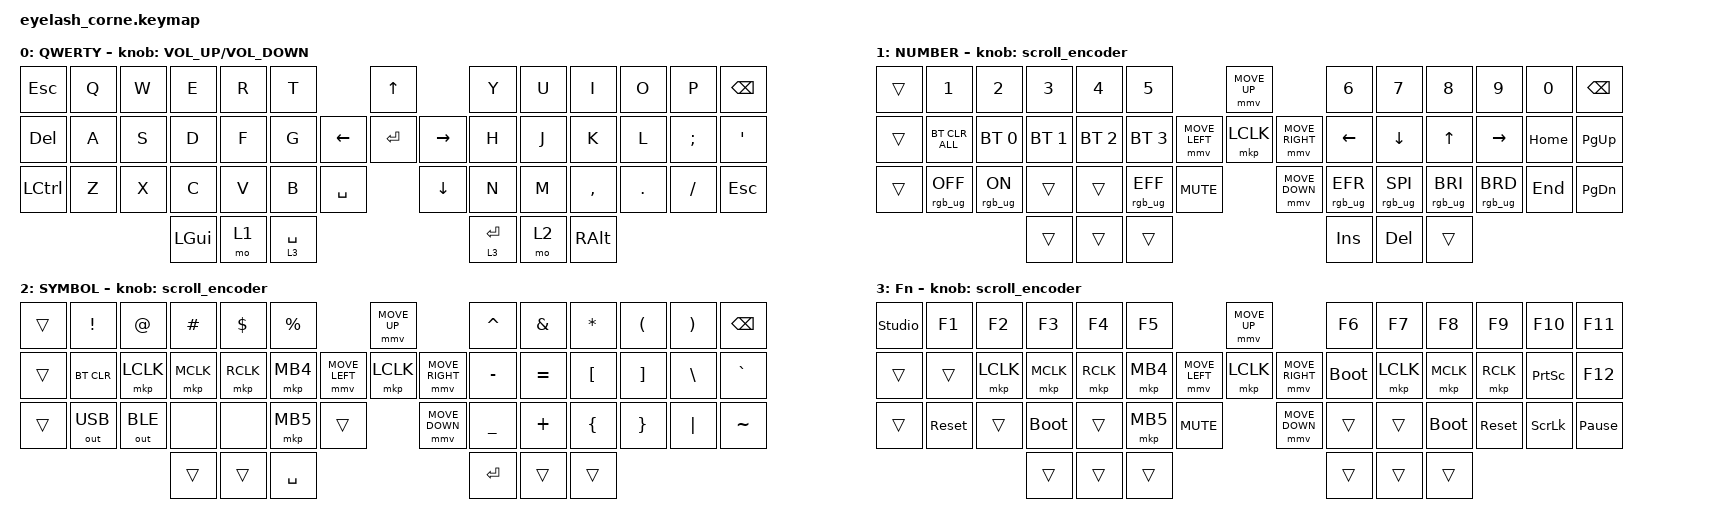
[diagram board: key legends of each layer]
#include <behaviors.dtsi>
#include <dt-bindings/zmk/bt.h>
#include <dt-bindings/zmk/keys.h>
#include <dt-bindings/zmk/mouse.h>
#include <dt-bindings/zmk/outputs.h>
#include <dt-bindings/zmk/rgb.h>

#include <input/processors.dtsi>

/*

   &mmv_input_listener {
       input-processors = <&zip_xy_scaler 2 1>;
   };

   &msc_input_listener {
       input-processors = <&zip_xy_scaler 2 1>;
   };

 */

#define ZMK_MOUSE_DEFAULT_MOVE_VAL 1200  // 600
#define ZMK_MOUSE_DEFAULT_SCRL_VAL 20    // 10

/ {
    behaviors {
        td0: td0 {
            compatible = "zmk,behavior-tap-dance";
            display-name = "Shift/Caps Lock Tap Dance";
            #binding-cells = <0>;
            bindings = <&kp LEFT_SHIFT>, <&kp CAPS>;
        };
    };

    rgb_encoder: rgb_encoder {
        compatible = "zmk,behavior-sensor-rotate";
        #sensor-binding-cells = <0>;
        bindings = <&rgb_ug RGB_BRI>, <&rgb_ug RGB_BRD>;
    };

    scroll_encoder: scroll_encoder {
        compatible = "zmk,behavior-sensor-rotate";
        #sensor-binding-cells = <0>;
        bindings = <&msc SCRL_DOWN>, <&msc SCRL_UP>;
        tap-ms = <30>;
    };
    combos {
         compatible = "zmk,combos";
         combo_Lshift {
            timeout-ms = <50>;
            key-positions = <16 17>;
            bindings = <&kp LEFT_SHIFT>;
         };
         combo_Rshift {
            timeout-ms = <50>;
            key-positions = <23 24>;
            bindings = <&kp RIGHT_SHIFT>;
         };
         combo_LCaps {
            timeout-ms = <50>;
            key-positions = <16 17 45>;
            bindings = <&kp CAPS>;
         };
         combo_RCaps {
            timeout-ms = <50>;
            key-positions = <23 24 45>;
            bindings = <&kp CAPS>;
         };
         combo_LCTRL {
            timeout-ms = <50>;
            key-positions = <15 17>;
            bindings = <&kp LCTRL>;
         };
         combo_RCTRL {
            timeout-ms = <50>;
            key-positions = <24 25>;
            bindings = <&kp RCTRL>;
         };
         combo_LAlt {
            timeout-ms = <50>;
            key-positions = <15 16>;
            bindings = <&kp LALT>;
         };
         combo_RAlt {
            timeout-ms = <50>;
            key-positions = <25 26>;
            bindings = <&kp RALT>;
         };
    };
    keymap {
        compatible = "zmk,keymap";

        default_layer {
            display-name = "QWERTY";
            bindings = <
&kp ESC    &kp Q  &kp W      &kp E     &kp R  &kp T                              &kp UP                &kp Y        &kp U  &kp I      &kp O    &kp P     &kp BSPC
&kp DEL    &kp A  &kp S      &kp D     &kp F  &kp G                    &kp LEFT  &kp ENTER  &kp RIGHT  &kp H        &kp J  &kp K      &kp L    &kp SEMI  &kp SQT
&kp LCTRL  &kp Z  &kp X      &kp C     &kp V  &kp B       &kp SPACE              &kp DOWN              &kp N        &kp M  &kp COMMA  &kp DOT  &kp FSLH  &kp ESC
                             &kp LGUI  &mo 1  &lt 3 SPACE                                              &lt 3 ENTER  &mo 2  &kp RALT
            >;
            sensor-bindings = <&inc_dec_kp C_VOLUME_UP C_VOLUME_DOWN>;
        };

        lower_layer {
            display-name = "NUMBER";
            bindings = <
&trans  &kp N1           &kp N2          &kp N3        &kp N4        &kp N5                                        &mmv MOVE_UP                     &kp N6           &kp N7           &kp N8           &kp N9           &kp N0    &kp BSPC
&trans  &bt BT_CLR_ALL   &bt BT_SEL 0    &bt BT_SEL 1  &bt BT_SEL 2  &bt BT_SEL 3                           &mmv MOVE_LEFT  &mkp LCLK       &mmv MOVE_RIGHT  &kp LEFT         &kp DOWN         &kp UP           &kp RIGHT        &kp HOME  &kp PG_UP
&trans  &rgb_ug RGB_OFF  &rgb_ug RGB_ON  &trans        &trans        &rgb_ug RGB_EFF &kp C_MUTE                    &mmv MOVE_DOWN                   &rgb_ug RGB_EFR  &rgb_ug RGB_SPI  &rgb_ug RGB_BRI  &rgb_ug RGB_BRD  &kp END   &kp PG_DN
                                         &trans        &trans        &trans                                                                         &kp INS          &kp DEL          &trans
            >;
            sensor-bindings = <&scroll_encoder>;
        };

        raise_layer {
            display-name = "SYMBOL";
            bindings = <
&trans  &kp EXCL      &kp AT        &kp HASH   &kp DLLR   &kp PRCNT                           &mmv MOVE_UP                     &kp CARET  &kp AMPS   &kp ASTRK  &kp LPAR  &kp RPAR  &kp BSPC
&trans  &bt BT_CLR    &mkp LCLK     &mkp MCLK  &mkp RCLK  &mkp MB4            &mmv MOVE_LEFT  &mkp LCLK       &mmv MOVE_RIGHT  &kp MINUS  &kp EQUAL  &kp LBKT   &kp RBKT  &kp BSLH  &kp GRAVE
&trans  &out OUT_USB  &out OUT_BLE  &none      &none      &mkp MB5  &trans                    &mmv MOVE_DOWN                   &kp UNDER  &kp PLUS   &kp LBRC   &kp RBRC  &kp PIPE  &kp TILDE
                                    &trans     &trans     &kp SPACE                                                            &kp RET    &trans     &trans
            >;
            sensor-bindings = <&scroll_encoder>;
        };

        layer_3 {
            display-name = "Fn";
            bindings = <
&studio_unlock   &kp F1      &kp F2      &kp F3       &kp F4     &kp F5                                  &mmv MOVE_UP                     &kp F6       &kp F7     &kp F8       &kp F9      &kp F10          &kp F11
&trans  &trans      &mkp LCLK   &mkp MCLK    &mkp RCLK  &mkp MB4                &mmv MOVE_LEFT  &mkp LCLK       &mmv MOVE_RIGHT  &bootloader  &mkp LCLK  &mkp MCLK    &mkp RCLK   &kp PRINTSCREEN  &kp F12
&trans  &sys_reset  &trans      &bootloader  &trans     &mkp MB5  &kp C_MUTE                    &mmv MOVE_DOWN                   &trans       &trans     &bootloader  &sys_reset  &kp SCROLLLOCK   &kp PAUSE_BREAK
                                &trans      &trans      &trans                                                                   &trans       &trans     &trans
            >;
            sensor-bindings = <&scroll_encoder>;
        };
    };
};
